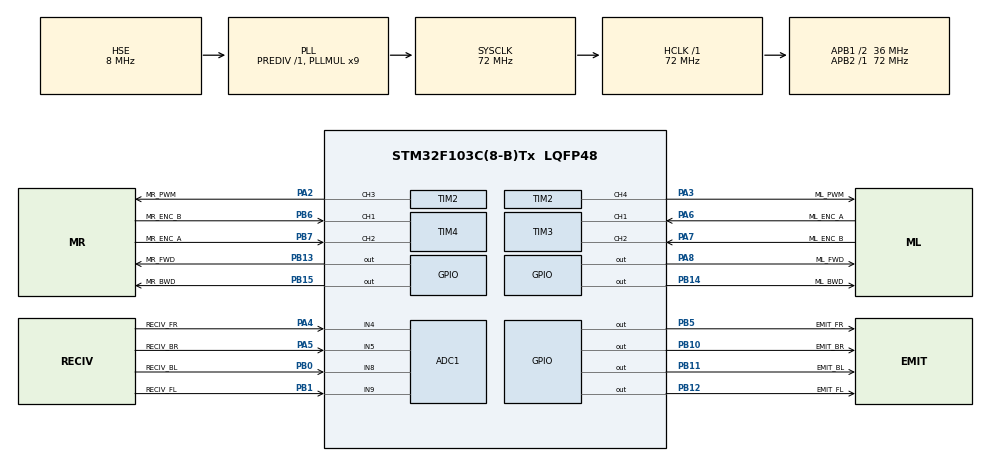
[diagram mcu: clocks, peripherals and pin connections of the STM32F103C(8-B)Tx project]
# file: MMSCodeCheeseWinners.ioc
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ADC1.Channel-0\#ChannelRegularConversion=ADC_CHANNEL_9
ADC1.NbrOfConversionFlag=1
ADC1.Rank-0\#ChannelRegularConversion=1
ADC1.SamplingTime-0\#ChannelRegularConversion=ADC_SAMPLETIME_1CYCLE_5
ADC1.master=1
Mcu.Family=STM32F1
Mcu.Name=STM32F103C(8-B)Tx
Mcu.Package=LQFP48
NVIC.PriorityGroup=NVIC_PRIORITYGROUP_4
NVIC.TIM3_IRQn=true\:0\:0\:false\:false\:true\:true\:true\:true
NVIC.TIM4_IRQn=true\:0\:0\:false\:false\:true\:true\:true\:true
PA13.Mode=Serial_Wire
PA13.Signal=SYS_JTMS-SWDIO
PA14.Mode=Serial_Wire
PA14.Signal=SYS_JTCK-SWCLK
PA2.GPIO_Label=MR_PWM
PA2.Signal=S_TIM2_CH3
PA3.GPIO_Label=ML_PWM
PA3.Signal=S_TIM2_CH4
PA4.GPIO_Label=RECIV_FR
PA4.Signal=ADCx_IN4
PA5.GPIO_Label=RECIV_BR
PA5.Signal=ADCx_IN5
PA6.GPIO_Label=ML_ENC_A
PA6.Signal=S_TIM3_CH1
PA7.GPIO_Label=ML_ENC_B
PA7.Signal=S_TIM3_CH2
PA8.GPIO_Label=ML_FWD
PA8.Signal=GPIO_Output
PB0.GPIO_Label=RECIV_BL
PB0.Signal=ADCx_IN8
PB1.GPIO_Label=RECIV_FL
PB1.Signal=ADCx_IN9
PB10.GPIO_Label=EMIT_BR
PB10.Signal=GPIO_Output
PB11.GPIO_Label=EMIT_BL
PB11.Signal=GPIO_Output
PB12.GPIO_Label=EMIT_FL
PB12.Signal=GPIO_Output
PB13.GPIO_Label=MR_FWD
PB13.Signal=GPIO_Output
PB14.GPIO_Label=ML_BWD
PB14.Signal=GPIO_Output
PB15.GPIO_Label=MR_BWD
PB15.Signal=GPIO_Output
PB5.GPIO_Label=EMIT_FR
PB5.Signal=GPIO_Output
PB6.GPIO_Label=MR_ENC_B
PB6.Signal=S_TIM4_CH1
PB7.GPIO_Label=MR_ENC_A
PB7.Signal=S_TIM4_CH2
PD0-OSC_IN.Mode=HSE-External-Oscillator
PD0-OSC_IN.Signal=RCC_OSC_IN
PD1-OSC_OUT.Mode=HSE-External-Oscillator
PD1-OSC_OUT.Signal=RCC_OSC_OUT
ProjectManager.HeapSize=0x200
ProjectManager.StackSize=0x400
ProjectManager.TargetToolchain=STM32CubeIDE
RCC.ADCPresc=RCC_ADCPCLK2_DIV6
RCC.AHBFreq_Value=72000000
RCC.APB1CLKDivider=RCC_HCLK_DIV2
RCC.APB1Freq_Value=36000000
RCC.APB1TimFreq_Value=72000000
RCC.APB2Freq_Value=72000000
RCC.APB2TimFreq_Value=72000000
RCC.HCLKFreq_Value=72000000
RCC.PLLMUL=RCC_PLL_MUL9
RCC.PLLSourceVirtual=RCC_PLLSOURCE_HSE
RCC.SYSCLKFreq_VALUE=72000000
RCC.SYSCLKSource=RCC_SYSCLKSOURCE_PLLCLK
RCC.USBFreq_Value=72000000
SH.ADCx_IN4.0=ADC1_IN4,IN4
SH.ADCx_IN5.0=ADC1_IN5,IN5
SH.ADCx_IN8.0=ADC1_IN8,IN8
SH.ADCx_IN9.0=ADC1_IN9,IN9
SH.S_TIM2_CH3.0=TIM2_CH3,PWM Generation3 CH3
SH.S_TIM2_CH4.0=TIM2_CH4,PWM Generation4 CH4
SH.S_TIM3_CH1.0=TIM3_CH1,Encoder_Interface
SH.S_TIM3_CH2.0=TIM3_CH2,Encoder_Interface
SH.S_TIM4_CH1.0=TIM4_CH1,Encoder_Interface
SH.S_TIM4_CH2.0=TIM4_CH2,Encoder_Interface
TIM2.AutoReloadPreload=TIM_AUTORELOAD_PRELOAD_ENABLE
TIM2.Channel-PWM\ Generation3\ CH3=TIM_CHANNEL_3
TIM2.Channel-PWM\ Generation4\ CH4=TIM_CHANNEL_4
TIM2.Period=2047
TIM2.Pulse-PWM\ Generation3\ CH3=25
TIM2.Pulse-PWM\ Generation4\ CH4=25
TIM3.EncoderMode=TIM_ENCODERMODE_TI12
TIM3.IC1Polarity=TIM_ICPOLARITY_FALLING
TIM3.IC2Polarity=TIM_ICPOLARITY_FALLING
TIM4.EncoderMode=TIM_ENCODERMODE_TI12
TIM4.IC1Polarity=TIM_ICPOLARITY_FALLING
TIM4.IC2Polarity=TIM_ICPOLARITY_FALLING
VP_TIM2_VS_ClockSourceINT.Mode=Internal
board=custom

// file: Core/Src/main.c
/* USER CODE BEGIN Header */
/**
 ******************************************************************************
 * @file           : main.c
 * @brief          : Main program body
 ******************************************************************************
 * @attention
 *
 * Copyright (c) 2024 STMicroelectronics.
 * All rights reserved.
 *
 * This software is licensed under terms that can be found in the LICENSE file
 * in the root directory of this software component.
 * If no LICENSE file comes with this software, it is provided AS-IS.
 *
 ******************************************************************************
 */
/* USER CODE END Header */
#include "main.h"

/* USER CODE BEGIN PTD */
typedef enum {
	DIST_FL, DIST_FR, DIST_BR, DIST_BL
} dist_t;
/* USER CODE END PTD */

ADC_HandleTypeDef hadc1;

TIM_HandleTypeDef htim2;
TIM_HandleTypeDef htim3;
TIM_HandleTypeDef htim4;

/* USER CODE BEGIN PV */
uint16_t dis_FL;
uint16_t dis_FR;
uint16_t dis_BL;
uint16_t dis_BR;
/* USER CODE END PV */

void SystemClock_Config(void);
static void MX_GPIO_Init(void);
static void MX_TIM2_Init(void);
static void MX_TIM3_Init(void);
static void MX_TIM4_Init(void);
static void MX_ADC1_Init(void);

/* USER CODE BEGIN 0 */
uint16_t ir_dists_raw[5] = { 0, 0, 0, 0, 0 };

//Nominal value is our "between what X1-X2 should the mouse be between before re-adjusting"
const uint16_t BL_nominal = 100;
const uint16_t BR_nominal = 100;
const uint16_t FL_nominal = 200;
const uint16_t FR_nominal = 200;

//Calibration value is the perfect/ideal value that we would want the mouse to be
//BL_calib = 210 would mean that the mouse should ideally be 210 units away from left wall
//Values depend on individual mice and should be tested beforehand (watch video)
const uint16_t BL_calib = 210;
const uint16_t BR_calib = 210;
const uint16_t FL_calib = 1900;
const uint16_t FR_calib = 1900;

float BL_scale = (float) BL_nominal / BL_calib;
float BR_scale = (float) BR_nominal / BR_calib;
float FL_scale = (float) FL_nominal / FL_calib;
float FR_scale = (float) FR_nominal / FR_calib;

uint16_t enc_left = 0;
uint16_t enc_right = 0;

//Allows for reading of encoder values
void HAL_TIM_CaptureCallback(TIM_HandleTypeDef *htim) {
	// this is the left and right encoder timer
	if (htim->Instance == TIM3) {
		enc_left = __HAL_TIM_GET_COUNTER(htim);
	}
	if (htim->Instance == TIM4) {
		enc_right = __HAL_TIM_GET_COUNTER(htim);
	}
}

static void ADC1_Select_CH4(void) {
	ADC_ChannelConfTypeDef sConfig = { 0 };

	sConfig.Channel = ADC_CHANNEL_4;
	sConfig.Rank = ADC_REGULAR_RANK_1;
	sConfig.SamplingTime = ADC_SAMPLETIME_7CYCLES_5;
	if (HAL_ADC_ConfigChannel(&hadc1, &sConfig) != HAL_OK) {
		Error_Handler();
	}
}

static void ADC1_Select_CH9(void) {
	ADC_ChannelConfTypeDef sConfig = { 0 };

	sConfig.Channel = ADC_CHANNEL_9;
	sConfig.Rank = ADC_REGULAR_RANK_1;
	sConfig.SamplingTime = ADC_SAMPLETIME_7CYCLES_5;
	if (HAL_ADC_ConfigChannel(&hadc1, &sConfig) != HAL_OK) {
		Error_Handler();
	}
}

static void ADC1_Select_CH5(void) {
	ADC_ChannelConfTypeDef sConfig = { 0 };

	sConfig.Channel = ADC_CHANNEL_5;
	sConfig.Rank = ADC_REGULAR_RANK_1;
	sConfig.SamplingTime = ADC_SAMPLETIME_7CYCLES_5;
	if (HAL_ADC_ConfigChannel(&hadc1, &sConfig) != HAL_OK) {
		Error_Handler();
	}
}

static void ADC1_Select_CH8(void) {
	ADC_ChannelConfTypeDef sConfig = { 0 };

	sConfig.Channel = ADC_CHANNEL_8;
	sConfig.Rank = ADC_REGULAR_RANK_1;
	sConfig.SamplingTime = ADC_SAMPLETIME_7CYCLES_5;
	if (HAL_ADC_ConfigChannel(&hadc1, &sConfig) != HAL_OK) {
		Error_Handler();
	}
}

uint16_t measure_dist(uint16_t dist_t) {
	GPIO_TypeDef *emitter_port;
	uint16_t emitter_pin;
	GPIO_TypeDef *receiver_port;
	uint16_t receiver_pin;

	switch (dist_t) {
	case DIST_FL:
		//Do i have to change EMIT_FL_GPIO_Port to GPIOB?
		emitter_port = EMIT_FL_GPIO_Port;
		emitter_pin = EMIT_FL_Pin;
		receiver_port = RECIV_FL_GPIO_Port;
		receiver_pin = RECIV_FL_Pin;
		ADC1_Select_CH9();
		break;
	case DIST_FR:
		emitter_port = EMIT_FR_GPIO_Port;
		emitter_pin = EMIT_FR_Pin;
		receiver_port = RECIV_FR_GPIO_Port;
		receiver_pin = RECIV_FR_Pin;
		ADC1_Select_CH4();
		break;
	case DIST_BL:
		//Do i have to change EMIT_BL_GPIO_Port to GPIOB?
		emitter_port = EMIT_BL_GPIO_Port;
		emitter_pin = EMIT_BL_Pin;
		receiver_port = RECIV_BL_GPIO_Port;
		receiver_pin = RECIV_BL_Pin;
		ADC1_Select_CH8();
		break;
	case DIST_BR:
		emitter_port = EMIT_BR_GPIO_Port;
		emitter_pin = EMIT_BR_Pin;
		receiver_port = RECIV_BR_GPIO_Port;
		receiver_pin = RECIV_BR_Pin;
		ADC1_Select_CH5();
		break;
	default:
		break;
	}
	//Turns on IR Emitter
	HAL_GPIO_WritePin(emitter_port, emitter_pin, GPIO_PIN_SET);
	HAL_Delay(5);

	//Starts ADC Conversion
	HAL_ADC_Start(&hadc1);
	//Checks if conversion is complete
	HAL_ADC_PollForConversion(&hadc1, HAL_MAX_DELAY);
	//Reads ADC Value
	uint16_t adc_val = HAL_ADC_GetValue(&hadc1);
	//Stops ADC Conversion
	HAL_ADC_Stop(&hadc1);

	//Turns off IR Emitter
	HAL_GPIO_WritePin(emitter_port, emitter_pin, GPIO_PIN_RESET);

	return adc_val;
}

uint16_t pollAverage(uint16_t rawValues) {
	int pollSumFR = 0;
	int pollSumFL = 0;
	int pollSumBR = 0;
	int pollSumBL = 0;

	int pollAvgFR = 0;
	int pollAvgFL = 0;
	int pollAvgBR = 0;
	int pollAvgBL = 0;

	for (int i = 0; i < 5; i++) {
		dis_FR = measure_dist(DIST_FR);
		dis_FL = measure_dist(DIST_FL);
		dis_BR = measure_dist(DIST_BR);
		dis_BL = measure_dist(DIST_BL);

		/*pollSumFR -= dis_FR;
		pollSumFR += dis_FR(FR_scale);
		pollSumFL -= dis_FL;
		pollSumFL += dis_FL(FL_scale);
		pollSumBR -= dis_BR;
		pollSumBR += dis_BR(BR_scale);
		pollSumBL -= dis_BL;
		pollSumBL += dis_BL(BL_scale);*/

	}
	pollAvgFR = pollSumFR / 5;
	pollAvgFL = pollSumFL / 5;
	pollAvgBR = pollSumBR / 5;
	pollAvgBL = pollSumBL / 5;

	//return array of avg polled valued
}

/* USER CODE END 0 */

int main(void) {

	/* MCU Configuration--------------------------------------------------------*/

	/* Reset of all peripherals, Initializes the Flash interface and the Systick. */
	HAL_Init();

	/* Configure the system clock */
	SystemClock_Config();

	/* Initialize all configured peripherals */
	MX_GPIO_Init();
	MX_TIM2_Init();
	MX_TIM3_Init();
	MX_TIM4_Init();
	MX_ADC1_Init();
	/* USER CODE BEGIN 2 */

	//first parameter is encoder handle interface?
	//second parameter is source channel for which first parameter will receive ticks
	//parameters might be switched though
	HAL_TIM_Encoder_Start_IT(&htim3, TIM_CHANNEL_2);
	HAL_TIM_Encoder_Start_IT(&htim4, TIM_CHANNEL_2);

	//Sets FR and FL motor to ON
	//Sets BR and BL motor to OFF
	HAL_GPIO_WritePin(GPIOA, GPIO_PIN_8, 1);
	HAL_GPIO_WritePin(GPIOB, GPIO_PIN_13, 0);
	HAL_GPIO_WritePin(GPIOB, GPIO_PIN_14, 0);
	HAL_GPIO_WritePin(GPIOB, GPIO_PIN_15, 1);

	//Sets timer frequencies (1000/2047 -> ~50% duty cycle / half motor speed)
	TIM2->CCR3 = 1200;
	TIM2->CCR4 = 1200;
	HAL_Delay(100);

	//Are these needed? They're supposed to actually start the timers once set
	HAL_TIM_PWM_Start(&htim2, TIM_CHANNEL_3);
	HAL_TIM_PWM_Start(&htim2, TIM_CHANNEL_4);
	/* USER CODE END 2 */

	/* Infinite loop */
	while (1) {

		//Create angleChecker program which retains raw encoder value between -360-360 for
		//easy turning purposes and resetting encoder values
		//Poll sensors (DO AN AVERAGE FOR MULTIPLE POLLS)
		//ADD pollAverage(uint16_t rawValues)
		dis_FR = measure_dist(DIST_FR);
		dis_FL = measure_dist(DIST_FL);
		dis_BR = measure_dist(DIST_BR);
		dis_BL = measure_dist(DIST_BL);
		HAL_Delay(1000);

		//Scan walls (NEED TO ADD DIAG IR SENSORS FOR HORIZONTAL WALLS)

		/*if(dis_BR < 300){
			printf("Right Wall is too close. Re-adjusting");
		}
		if(dis_BL < 300){
			printf("Left Wall is too close. Re-adjusting");
		}
		if(dis_FR < 300){
			printf("Front Wall is too close. Re-adjusting");
		}
		if(dis_FL < 300){
			printf("Front Wall is too close. Re-adjusting");
		}*/

		//Run Flood fill
		//Figure out best cell
		//Move to best cell
	}
}

void SystemClock_Config(void) {
	RCC_OscInitTypeDef RCC_OscInitStruct = { 0 };
	RCC_ClkInitTypeDef RCC_ClkInitStruct = { 0 };
	RCC_PeriphCLKInitTypeDef PeriphClkInit = { 0 };

	/** Initializes the RCC Oscillators according to the specified parameters
	 * in the RCC_OscInitTypeDef structure.
	 */
	RCC_OscInitStruct.OscillatorType = RCC_OSCILLATORTYPE_HSE;
	RCC_OscInitStruct.HSEState = RCC_HSE_ON;
	RCC_OscInitStruct.HSEPredivValue = RCC_HSE_PREDIV_DIV1;
	RCC_OscInitStruct.HSIState = RCC_HSI_ON;
	RCC_OscInitStruct.PLL.PLLState = RCC_PLL_ON;
	RCC_OscInitStruct.PLL.PLLSource = RCC_PLLSOURCE_HSE;
	RCC_OscInitStruct.PLL.PLLMUL = RCC_PLL_MUL9;
	if (HAL_RCC_OscConfig(&RCC_OscInitStruct) != HAL_OK) {
		Error_Handler();
	}

	/** Initializes the CPU, AHB and APB buses clocks
	 */
	RCC_ClkInitStruct.ClockType = RCC_CLOCKTYPE_HCLK | RCC_CLOCKTYPE_SYSCLK
			| RCC_CLOCKTYPE_PCLK1 | RCC_CLOCKTYPE_PCLK2;
	RCC_ClkInitStruct.SYSCLKSource = RCC_SYSCLKSOURCE_PLLCLK;
	RCC_ClkInitStruct.AHBCLKDivider = RCC_SYSCLK_DIV1;
	RCC_ClkInitStruct.APB1CLKDivider = RCC_HCLK_DIV2;
	RCC_ClkInitStruct.APB2CLKDivider = RCC_HCLK_DIV1;

	if (HAL_RCC_ClockConfig(&RCC_ClkInitStruct, FLASH_LATENCY_2) != HAL_OK) {
		Error_Handler();
	}
	PeriphClkInit.PeriphClockSelection = RCC_PERIPHCLK_ADC;
	PeriphClkInit.AdcClockSelection = RCC_ADCPCLK2_DIV6;
	if (HAL_RCCEx_PeriphCLKConfig(&PeriphClkInit) != HAL_OK) {
		Error_Handler();
	}
}

static void MX_ADC1_Init(void) {

	ADC_ChannelConfTypeDef sConfig = { 0 };

	/** Common config
	 */
	hadc1.Instance = ADC1;
	hadc1.Init.ScanConvMode = ADC_SCAN_DISABLE;
	hadc1.Init.ContinuousConvMode = DISABLE;
	hadc1.Init.DiscontinuousConvMode = DISABLE;
	hadc1.Init.ExternalTrigConv = ADC_SOFTWARE_START;
	hadc1.Init.DataAlign = ADC_DATAALIGN_RIGHT;
	hadc1.Init.NbrOfConversion = 1;
	if (HAL_ADC_Init(&hadc1) != HAL_OK) {
		Error_Handler();
	}

	/** Configure Regular Channel
	 */
	sConfig.Channel = ADC_CHANNEL_9;
	sConfig.Rank = ADC_REGULAR_RANK_1;
	sConfig.SamplingTime = ADC_SAMPLETIME_1CYCLE_5;
	if (HAL_ADC_ConfigChannel(&hadc1, &sConfig) != HAL_OK) {
		Error_Handler();
	}

}

static void MX_TIM2_Init(void) {

	TIM_ClockConfigTypeDef sClockSourceConfig = { 0 };
	TIM_MasterConfigTypeDef sMasterConfig = { 0 };
	TIM_OC_InitTypeDef sConfigOC = { 0 };

	htim2.Instance = TIM2;
	htim2.Init.Prescaler = 0;
	htim2.Init.CounterMode = TIM_COUNTERMODE_UP;
	htim2.Init.Period = 2047;
	htim2.Init.ClockDivision = TIM_CLOCKDIVISION_DIV1;
	htim2.Init.AutoReloadPreload = TIM_AUTORELOAD_PRELOAD_ENABLE;
	if (HAL_TIM_Base_Init(&htim2) != HAL_OK) {
		Error_Handler();
	}
	sClockSourceConfig.ClockSource = TIM_CLOCKSOURCE_INTERNAL;
	if (HAL_TIM_ConfigClockSource(&htim2, &sClockSourceConfig) != HAL_OK) {
		Error_Handler();
	}
	if (HAL_TIM_PWM_Init(&htim2) != HAL_OK) {
		Error_Handler();
	}
	sMasterConfig.MasterOutputTrigger = TIM_TRGO_RESET;
	sMasterConfig.MasterSlaveMode = TIM_MASTERSLAVEMODE_DISABLE;
	if (HAL_TIMEx_MasterConfigSynchronization(&htim2, &sMasterConfig)
			!= HAL_OK) {
		Error_Handler();
	}
	sConfigOC.OCMode = TIM_OCMODE_PWM1;
	sConfigOC.Pulse = 25;
	sConfigOC.OCPolarity = TIM_OCPOLARITY_HIGH;
	sConfigOC.OCFastMode = TIM_OCFAST_DISABLE;
	if (HAL_TIM_PWM_ConfigChannel(&htim2, &sConfigOC, TIM_CHANNEL_3)
			!= HAL_OK) {
		Error_Handler();
	}
	if (HAL_TIM_PWM_ConfigChannel(&htim2, &sConfigOC, TIM_CHANNEL_4)
			!= HAL_OK) {
		Error_Handler();
	}
	HAL_TIM_MspPostInit(&htim2);

}

static void MX_TIM3_Init(void) {

	TIM_Encoder_InitTypeDef sConfig = { 0 };
	TIM_MasterConfigTypeDef sMasterConfig = { 0 };

	htim3.Instance = TIM3;
	htim3.Init.Prescaler = 0;
	htim3.Init.CounterMode = TIM_COUNTERMODE_UP;
	htim3.Init.Period = 65535;
	htim3.Init.ClockDivision = TIM_CLOCKDIVISION_DIV1;
	htim3.Init.AutoReloadPreload = TIM_AUTORELOAD_PRELOAD_DISABLE;
	sConfig.EncoderMode = TIM_ENCODERMODE_TI12;
	sConfig.IC1Polarity = TIM_ICPOLARITY_FALLING;
	sConfig.IC1Selection = TIM_ICSELECTION_DIRECTTI;
	sConfig.IC1Prescaler = TIM_ICPSC_DIV1;
	sConfig.IC1Filter = 0;
	sConfig.IC2Polarity = TIM_ICPOLARITY_FALLING;
	sConfig.IC2Selection = TIM_ICSELECTION_DIRECTTI;
	sConfig.IC2Prescaler = TIM_ICPSC_DIV1;
	sConfig.IC2Filter = 0;
	if (HAL_TIM_Encoder_Init(&htim3, &sConfig) != HAL_OK) {
		Error_Handler();
	}
	sMasterConfig.MasterOutputTrigger = TIM_TRGO_RESET;
	sMasterConfig.MasterSlaveMode = TIM_MASTERSLAVEMODE_DISABLE;
	if (HAL_TIMEx_MasterConfigSynchronization(&htim3, &sMasterConfig)
			!= HAL_OK) {
		Error_Handler();
	}

}

static void MX_TIM4_Init(void) {

	TIM_Encoder_InitTypeDef sConfig = { 0 };
	TIM_MasterConfigTypeDef sMasterConfig = { 0 };

	htim4.Instance = TIM4;
	htim4.Init.Prescaler = 0;
	htim4.Init.CounterMode = TIM_COUNTERMODE_UP;
	htim4.Init.Period = 65535;
	htim4.Init.ClockDivision = TIM_CLOCKDIVISION_DIV1;
	htim4.Init.AutoReloadPreload = TIM_AUTORELOAD_PRELOAD_DISABLE;
	sConfig.EncoderMode = TIM_ENCODERMODE_TI12;
	sConfig.IC1Polarity = TIM_ICPOLARITY_FALLING;
	sConfig.IC1Selection = TIM_ICSELECTION_DIRECTTI;
	sConfig.IC1Prescaler = TIM_ICPSC_DIV1;
	sConfig.IC1Filter = 0;
	sConfig.IC2Polarity = TIM_ICPOLARITY_FALLING;
	sConfig.IC2Selection = TIM_ICSELECTION_DIRECTTI;
	sConfig.IC2Prescaler = TIM_ICPSC_DIV1;
	sConfig.IC2Filter = 0;
	if (HAL_TIM_Encoder_Init(&htim4, &sConfig) != HAL_OK) {
		Error_Handler();
	}
	sMasterConfig.MasterOutputTrigger = TIM_TRGO_RESET;
	sMasterConfig.MasterSlaveMode = TIM_MASTERSLAVEMODE_DISABLE;
	if (HAL_TIMEx_MasterConfigSynchronization(&htim4, &sMasterConfig)
			!= HAL_OK) {
		Error_Handler();
	}

}

static void MX_GPIO_Init(void) {
	GPIO_InitTypeDef GPIO_InitStruct = { 0 };

	/* GPIO Ports Clock Enable */
	__HAL_RCC_GPIOD_CLK_ENABLE();
	__HAL_RCC_GPIOA_CLK_ENABLE();
	__HAL_RCC_GPIOB_CLK_ENABLE();

	/*Configure GPIO pin Output Level */
	HAL_GPIO_WritePin(GPIOB,
			EMIT_BR_Pin | EMIT_BL_Pin | EMIT_FL_Pin | MR_FWD_Pin | ML_BWD_Pin
					| MR_BWD_Pin | EMIT_FR_Pin, GPIO_PIN_RESET);

	/*Configure GPIO pin Output Level */
	HAL_GPIO_WritePin(ML_FWD_GPIO_Port, ML_FWD_Pin, GPIO_PIN_RESET);

	/*Configure GPIO pins : EMIT_BR_Pin EMIT_BL_Pin EMIT_FL_Pin MR_FWD_Pin
	 ML_BWD_Pin MR_BWD_Pin EMIT_FR_Pin */
	GPIO_InitStruct.Pin = EMIT_BR_Pin | EMIT_BL_Pin | EMIT_FL_Pin | MR_FWD_Pin
			| ML_BWD_Pin | MR_BWD_Pin | EMIT_FR_Pin;
	GPIO_InitStruct.Mode = GPIO_MODE_OUTPUT_PP;
	GPIO_InitStruct.Pull = GPIO_NOPULL;
	GPIO_InitStruct.Speed = GPIO_SPEED_FREQ_LOW;
	HAL_GPIO_Init(GPIOB, &GPIO_InitStruct);

	/*Configure GPIO pin : ML_FWD_Pin */
	GPIO_InitStruct.Pin = ML_FWD_Pin;
	GPIO_InitStruct.Mode = GPIO_MODE_OUTPUT_PP;
	GPIO_InitStruct.Pull = GPIO_NOPULL;
	GPIO_InitStruct.Speed = GPIO_SPEED_FREQ_LOW;
	HAL_GPIO_Init(ML_FWD_GPIO_Port, &GPIO_InitStruct);

}

void Error_Handler(void) {
	__disable_irq();
	while (1) {
	}
}
